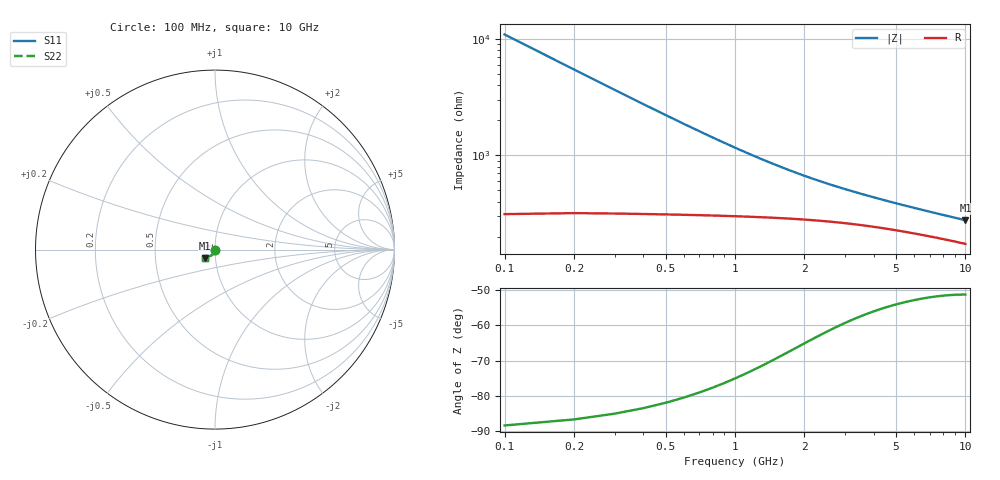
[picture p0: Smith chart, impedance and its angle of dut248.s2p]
! Touchstone file exported from HFSS 2024.1.0
!  File:  C:/UserFiles/LocalFiles/RDL_TSV_Batchsim/temp_TSV1_248_1778769044.aedt
!  Generated:  10:35:23 PM May 14, 2026
!  Design:  TSV1
!  Project:  temp_TSV1_248_1778769044
!  Setup:  Setup1
!  Solution:  Sweep
! Variables:
!  dtsv = 20.52um
!  hbump = 3um
!  htsv = 58.48um
!  lrdl = 252.1521522um
!  p = 40
!  p1 = 49.78um
!  t = 500um
!  trdl = 3um
!  wrdl = 24.89489489um
# GHz S MA R 50.000000
! Terminal data exported
! Port[1] = TSV22_T1
! Port[2] = TSV22_T2
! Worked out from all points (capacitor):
!   100 points, 100 MHz to 10 GHz, reference 50 ohm
!   read as one part in shunt: C = 146 fF near 100 MHz
!   lowest |Z| = 278 ohm at 10 GHz (marker M1)
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0.1  0.002068 -90.0  0.9999 -0.1  0.9999 -0.1  0.002068 -90.0
! Gamma 0 0 0 0
! Port Impedance 50 0 50 0
0.2  0.004135 -92.9  0.9996 -0.3  0.9996 -0.3  0.004135 -92.9
0.3  0.006191 -95.0  0.9993 -0.4  0.9993 -0.4  0.006191 -95.0
0.4  0.008222 -96.9  0.9988 -0.6  0.9988 -0.6  0.008222 -96.9
0.5  0.01022 -98.7  0.9982 -0.7  0.9982 -0.7  0.01022 -98.7
0.6  0.01217 -100.5  0.9975 -0.8  0.9975 -0.8  0.01217 -100.5
0.7  0.01408 -102.1  0.9968 -0.9  0.9968 -0.9  0.01408 -102.1
0.8  0.01593 -103.8  0.9959 -1.1  0.9959 -1.1  0.01593 -103.8
0.9  0.01773 -105.4  0.995 -1.2  0.995 -1.2  0.01773 -105.4
1.1  0.02114 -108.3  0.9931 -1.4  0.9931 -1.4  0.02114 -108.3
1.4  0.02578 -112.4  0.99 -1.7  0.99 -1.7  0.02578 -112.4
1.6  0.02858 -114.8  0.9878 -1.8  0.9878 -1.8  0.02858 -114.8
1.8  0.03115 -116.9  0.9858 -2.0  0.9858 -2.0  0.03115 -116.9
2.1  0.03462 -119.8  0.9827 -2.2  0.9827 -2.2  0.03462 -119.8
2.5  0.03864 -123.0  0.9789 -2.4  0.9789 -2.4  0.03864 -123.0
2.9  0.04212 -125.7  0.9755 -2.6  0.9755 -2.6  0.04212 -125.7
3.4  0.04589 -128.3  0.9717 -2.8  0.9717 -2.8  0.04589 -128.3
4.2  0.05096 -131.4  0.9665 -3.1  0.9665 -3.1  0.05096 -131.4
5.1  0.05573 -134.0  0.9617 -3.4  0.9617 -3.4  0.05573 -134.0
6.7  0.06259 -137.2  0.9547 -3.9  0.9547 -3.9  0.06259 -137.2
8.4  0.06837 -139.4  0.949 -4.4  0.949 -4.4  0.06837 -139.4
10  0.07287 -140.8  0.9447 -4.8  0.9447 -4.8  0.07287 -140.8
